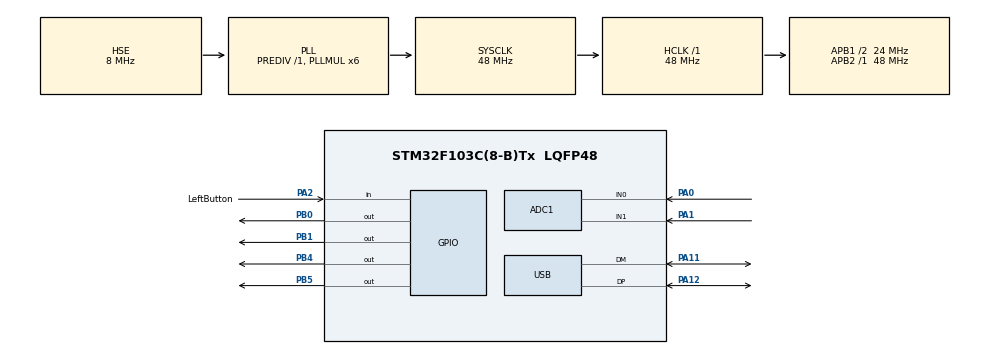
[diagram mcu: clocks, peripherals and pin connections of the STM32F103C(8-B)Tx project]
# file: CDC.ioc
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ADC1.Channel-0\#ChannelRegularConversion=ADC_CHANNEL_0
ADC1.Channel-1\#ChannelRegularConversion=ADC_CHANNEL_1
ADC1.ContinuousConvMode=ENABLE
ADC1.NbrOfConversion=2
ADC1.NbrOfConversionFlag=1
ADC1.Rank-0\#ChannelRegularConversion=1
ADC1.Rank-1\#ChannelRegularConversion=2
ADC1.SamplingTime-0\#ChannelRegularConversion=ADC_SAMPLETIME_239CYCLES_5
ADC1.SamplingTime-1\#ChannelRegularConversion=ADC_SAMPLETIME_239CYCLES_5
ADC1.master=1
Dma.ADC1.0.Direction=DMA_PERIPH_TO_MEMORY
Dma.ADC1.0.Instance=DMA1_Channel1
Dma.ADC1.0.MemDataAlignment=DMA_MDATAALIGN_HALFWORD
Dma.ADC1.0.MemInc=DMA_MINC_ENABLE
Dma.ADC1.0.Mode=DMA_CIRCULAR
Dma.ADC1.0.PeriphDataAlignment=DMA_PDATAALIGN_HALFWORD
Dma.ADC1.0.PeriphInc=DMA_PINC_DISABLE
Dma.ADC1.0.Priority=DMA_PRIORITY_LOW
Dma.Request0=ADC1
Mcu.Family=STM32F1
Mcu.Name=STM32F103C(8-B)Tx
Mcu.Package=LQFP48
NVIC.DMA1_Channel1_IRQn=true\:0\:0\:false\:false\:true\:false\:true\:true
NVIC.PriorityGroup=NVIC_PRIORITYGROUP_4
NVIC.USB_LP_CAN1_RX0_IRQn=true\:0\:0\:false\:false\:true\:false\:true\:true
PA0-WKUP.Signal=ADCx_IN0
PA1.Signal=ADCx_IN1
PA11.Mode=Device
PA11.Signal=USB_DM
PA12.Mode=Device
PA12.Signal=USB_DP
PA13.Mode=Serial_Wire
PA13.Signal=SYS_JTMS-SWDIO
PA14.Mode=Serial_Wire
PA14.Signal=SYS_JTCK-SWCLK
PA2.GPIO_Label=LeftButton
PA2.GPIO_PuPd=GPIO_PULLUP
PA2.Signal=GPIO_Input
PB0.Signal=GPIO_Output
PB1.Signal=GPIO_Output
PB4.Signal=GPIO_Output
PB5.Signal=GPIO_Output
PD0-OSC_IN.Mode=HSE-External-Oscillator
PD0-OSC_IN.Signal=RCC_OSC_IN
PD1-OSC_OUT.Mode=HSE-External-Oscillator
PD1-OSC_OUT.Signal=RCC_OSC_OUT
ProjectManager.HeapSize=0x200
ProjectManager.StackSize=0x400
ProjectManager.TargetToolchain=STM32CubeIDE
RCC.ADCPresc=RCC_ADCPCLK2_DIV4
RCC.AHBFreq_Value=48000000
RCC.APB1CLKDivider=RCC_HCLK_DIV2
RCC.APB1Freq_Value=24000000
RCC.APB1TimFreq_Value=48000000
RCC.APB2Freq_Value=48000000
RCC.APB2TimFreq_Value=48000000
RCC.HCLKFreq_Value=48000000
RCC.PLLMUL=RCC_PLL_MUL6
RCC.PLLSourceVirtual=RCC_PLLSOURCE_HSE
RCC.SYSCLKFreq_VALUE=48000000
RCC.SYSCLKSource=RCC_SYSCLKSOURCE_PLLCLK
RCC.USBFreq_Value=48000000
SH.ADCx_IN0.0=ADC1_IN0,IN0
SH.ADCx_IN1.0=ADC1_IN1,IN1
USB_DEVICE.CLASS_NAME_FS=HID
USB_DEVICE.VirtualMode=Hid
USB_DEVICE.VirtualModeFS=Hid_FS
VP_USB_DEVICE_VS_USB_DEVICE_HID_FS.Mode=HID_FS
board=custom

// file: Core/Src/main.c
/* USER CODE BEGIN Header */
/**
  ******************************************************************************
  * @file           : main.c
  * @brief          : Main program body
  ******************************************************************************
  * @attention
  *
  * Copyright (c) 2024 STMicroelectronics.
  * All rights reserved.
  *
  * This software is licensed under terms that can be found in the LICENSE file
  * in the root directory of this software component.
  * If no LICENSE file comes with this software, it is provided AS-IS.
  *
  ******************************************************************************
  */
/* USER CODE END Header */
#include "main.h"
#include "usb_device.h"

/* USER CODE BEGIN Includes */
#include "string.h"
#include "usbd_hid.h"
/* USER CODE END Includes */

/* USER CODE BEGIN PM */
int8_t mouse_report[5];
uint16_t ADC_val[2];
/* USER CODE END PM */

ADC_HandleTypeDef hadc1;
DMA_HandleTypeDef hdma_adc1;

void SystemClock_Config(void);
static void MX_GPIO_Init(void);
static void MX_DMA_Init(void);
static void MX_ADC1_Init(void);
/* USER CODE BEGIN PFP */
extern USBD_HandleTypeDef hUsbDeviceFS ;
/* USER CODE END PFP */

/* USER CODE BEGIN 0 */
long map(long x, long in_min ,long in_max ,long out_min ,long out_max)
{
	long value;
	value = (x - in_min) * (out_max - out_min) / (in_max - in_min) + out_min;
	return value;
}

void Mouse_GetAction(void)
{
	static uint8_t button = 0 ;
	int8_t XPos,YPos = 0 ;
	if(HAL_GPIO_ReadPin(LeftButton_GPIO_Port,LeftButton_Pin) == 0)
	{
		button = 1;
	}
	else
	{
		button = 0;
	}
	XPos = map(ADC_val[0],0,4096,-10,10);
	YPos = map(ADC_val[1],0,4096,-10,10);

	mouse_report[0] = button;
	mouse_report[1] = XPos;
	mouse_report[2] = YPos;
	mouse_report[3] = 0;
	mouse_report[4] = 0;
}
/* USER CODE END 0 */

int main(void)
{

  /* MCU Configuration--------------------------------------------------------*/

  /* Reset of all peripherals, Initializes the Flash interface and the Systick. */
  HAL_Init();

  /* Configure the system clock */
  SystemClock_Config();

  /* Initialize all configured peripherals */
  MX_GPIO_Init();
  MX_DMA_Init();
  MX_ADC1_Init();
  MX_USB_DEVICE_Init();
  /* USER CODE BEGIN 2 */
  HAL_ADC_Start_DMA(&hadc1,(uint32_t*)ADC_val,2);
  /* USER CODE END 2 */

  /* Infinite loop */
  while (1)
  {

    /* USER CODE BEGIN 3 */
	Mouse_GetAction();
	USBD_HID_SendReport(&hUsbDeviceFS,(uint8_t*)mouse_report,5);
	HAL_GPIO_WritePin(GPIOB,GPIO_PIN_0,1);
	HAL_GPIO_WritePin(GPIOB,GPIO_PIN_1,1);
	HAL_GPIO_WritePin(GPIOB,GPIO_PIN_4,1);
	HAL_GPIO_WritePin(GPIOB,GPIO_PIN_5,1);
  }
  /* USER CODE END 3 */
}

void SystemClock_Config(void)
{
  RCC_OscInitTypeDef RCC_OscInitStruct = {0};
  RCC_ClkInitTypeDef RCC_ClkInitStruct = {0};
  RCC_PeriphCLKInitTypeDef PeriphClkInit = {0};

  /** Initializes the RCC Oscillators according to the specified parameters
  * in the RCC_OscInitTypeDef structure.
  */
  RCC_OscInitStruct.OscillatorType = RCC_OSCILLATORTYPE_HSE;
  RCC_OscInitStruct.HSEState = RCC_HSE_ON;
  RCC_OscInitStruct.HSEPredivValue = RCC_HSE_PREDIV_DIV1;
  RCC_OscInitStruct.HSIState = RCC_HSI_ON;
  RCC_OscInitStruct.PLL.PLLState = RCC_PLL_ON;
  RCC_OscInitStruct.PLL.PLLSource = RCC_PLLSOURCE_HSE;
  RCC_OscInitStruct.PLL.PLLMUL = RCC_PLL_MUL6;
  if (HAL_RCC_OscConfig(&RCC_OscInitStruct) != HAL_OK)
  {
    Error_Handler();
  }

  /** Initializes the CPU, AHB and APB buses clocks
  */
  RCC_ClkInitStruct.ClockType = RCC_CLOCKTYPE_HCLK|RCC_CLOCKTYPE_SYSCLK
                              |RCC_CLOCKTYPE_PCLK1|RCC_CLOCKTYPE_PCLK2;
  RCC_ClkInitStruct.SYSCLKSource = RCC_SYSCLKSOURCE_PLLCLK;
  RCC_ClkInitStruct.AHBCLKDivider = RCC_SYSCLK_DIV1;
  RCC_ClkInitStruct.APB1CLKDivider = RCC_HCLK_DIV2;
  RCC_ClkInitStruct.APB2CLKDivider = RCC_HCLK_DIV1;

  if (HAL_RCC_ClockConfig(&RCC_ClkInitStruct, FLASH_LATENCY_1) != HAL_OK)
  {
    Error_Handler();
  }
  PeriphClkInit.PeriphClockSelection = RCC_PERIPHCLK_ADC|RCC_PERIPHCLK_USB;
  PeriphClkInit.AdcClockSelection = RCC_ADCPCLK2_DIV4;
  PeriphClkInit.UsbClockSelection = RCC_USBCLKSOURCE_PLL;
  if (HAL_RCCEx_PeriphCLKConfig(&PeriphClkInit) != HAL_OK)
  {
    Error_Handler();
  }
}

static void MX_ADC1_Init(void)
{

  ADC_ChannelConfTypeDef sConfig = {0};

  /** Common config
  */
  hadc1.Instance = ADC1;
  hadc1.Init.ScanConvMode = ADC_SCAN_ENABLE;
  hadc1.Init.ContinuousConvMode = ENABLE;
  hadc1.Init.DiscontinuousConvMode = DISABLE;
  hadc1.Init.ExternalTrigConv = ADC_SOFTWARE_START;
  hadc1.Init.DataAlign = ADC_DATAALIGN_RIGHT;
  hadc1.Init.NbrOfConversion = 2;
  if (HAL_ADC_Init(&hadc1) != HAL_OK)
  {
    Error_Handler();
  }

  /** Configure Regular Channel
  */
  sConfig.Channel = ADC_CHANNEL_0;
  sConfig.Rank = ADC_REGULAR_RANK_1;
  sConfig.SamplingTime = ADC_SAMPLETIME_239CYCLES_5;
  if (HAL_ADC_ConfigChannel(&hadc1, &sConfig) != HAL_OK)
  {
    Error_Handler();
  }

  /** Configure Regular Channel
  */
  sConfig.Channel = ADC_CHANNEL_1;
  sConfig.Rank = ADC_REGULAR_RANK_2;
  if (HAL_ADC_ConfigChannel(&hadc1, &sConfig) != HAL_OK)
  {
    Error_Handler();
  }

}

static void MX_DMA_Init(void)
{

  /* DMA controller clock enable */
  __HAL_RCC_DMA1_CLK_ENABLE();

  /* DMA interrupt init */
  /* DMA1_Channel1_IRQn interrupt configuration */
  HAL_NVIC_SetPriority(DMA1_Channel1_IRQn, 0, 0);
  HAL_NVIC_EnableIRQ(DMA1_Channel1_IRQn);

}

static void MX_GPIO_Init(void)
{
  GPIO_InitTypeDef GPIO_InitStruct = {0};

  /* GPIO Ports Clock Enable */
  __HAL_RCC_GPIOD_CLK_ENABLE();
  __HAL_RCC_GPIOA_CLK_ENABLE();
  __HAL_RCC_GPIOB_CLK_ENABLE();

  /*Configure GPIO pin Output Level */
  HAL_GPIO_WritePin(GPIOB, GPIO_PIN_0|GPIO_PIN_1|GPIO_PIN_4|GPIO_PIN_5, GPIO_PIN_RESET);

  /*Configure GPIO pin : LeftButton_Pin */
  GPIO_InitStruct.Pin = LeftButton_Pin;
  GPIO_InitStruct.Mode = GPIO_MODE_INPUT;
  GPIO_InitStruct.Pull = GPIO_PULLUP;
  HAL_GPIO_Init(LeftButton_GPIO_Port, &GPIO_InitStruct);

  /*Configure GPIO pins : PB0 PB1 PB4 PB5 */
  GPIO_InitStruct.Pin = GPIO_PIN_0|GPIO_PIN_1|GPIO_PIN_4|GPIO_PIN_5;
  GPIO_InitStruct.Mode = GPIO_MODE_OUTPUT_PP;
  GPIO_InitStruct.Pull = GPIO_NOPULL;
  GPIO_InitStruct.Speed = GPIO_SPEED_FREQ_LOW;
  HAL_GPIO_Init(GPIOB, &GPIO_InitStruct);

}

void Error_Handler(void)
{
  __disable_irq();
  while (1)
  {
  }
}
